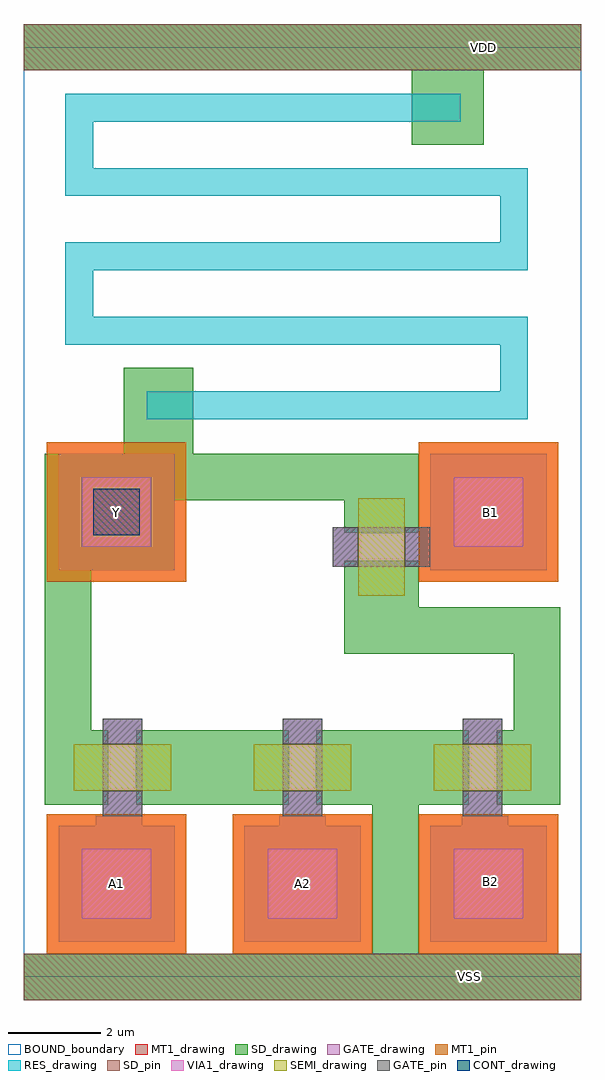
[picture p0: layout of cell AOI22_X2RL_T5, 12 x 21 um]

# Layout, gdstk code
from math import pi, radians
import gdstk
lib = gdstk.Library(unit=1e-6, precision=1e-09)
def R(c, l, rs):  # rectangles x0, y0, x1, y1
    for r in rs: c.add(gdstk.rectangle(r[:2], r[2:], *l))
def A(c, l, x, y, w, h, nx, ny, dx, dy):  # array of equal rectangles
    R(c, l, [(x+i*dx, y+j*dy, x+i*dx+w, y+j*dy+h) for i in range(nx) for j in range(ny)])
def P(c, l, *ps):  # polygons
    for p in ps: c.add(gdstk.Polygon(p, *l))
RES_drawing = (1, 0)
SEMI_drawing = (3, 0)
SD_drawing = (10, 0)
SD_pin = (10, 3)
GATE_drawing = (11, 0)
GATE_pin = (11, 3)
MT1_drawing = (20, 0)
MT1_pin = (20, 3)
CONT_drawing = (30, 0)
VIA1_drawing = (41, 0)
BOUND_boundary = (150, 5)

nch_cdns_772544902850 = lib.new_cell('nch_CDNS_772544902850')
R(nch_cdns_772544902850, SEMI_drawing, [(-1.05,-0.5,1.05,0.5)])
R(nch_cdns_772544902850, SD_drawing, [(-1.3,-0.8,-0.3,0.8), (0.3,-0.8,1.3,0.8)])
R(nch_cdns_772544902850, GATE_drawing, [(-0.425,-1.05,0.425,1.05)])
R(nch_cdns_772544902850, GATE_pin, [(-0.425,-1.05,0.425,-0.5), (-0.425,0.5,0.425,1.05)])

gate_mt1_cdns_7725449028 = lib.new_cell('GATE_MT1_CDNS_772544902850')
R(gate_mt1_cdns_7725449028, GATE_drawing, [(-1.25,-1.25,1.25,1.25)])
R(gate_mt1_cdns_7725449028, MT1_drawing, [(-1.25,-1.25,1.25,1.25)])
R(gate_mt1_cdns_7725449028, VIA1_drawing, [(-0.75,-0.75,0.75,0.75)])

sd_gate_cdns_77254490285 = lib.new_cell('SD_GATE_CDNS_772544902851')
R(sd_gate_cdns_77254490285, SD_drawing, [(-1,-1,1,1)])
R(sd_gate_cdns_77254490285, GATE_drawing, [(-1,-1,1,1)])
R(sd_gate_cdns_77254490285, CONT_drawing, [(-0.5,-0.5,0.5,0.5)])

aoi22_x2rl_t5 = lib.new_cell('AOI22_X2RL_T5')
R(aoi22_x2rl_t5, SD_drawing, [(0.75,8.75,3.25,11.25), (2.15,11.1,3.65,13.1), (8.35,17.9,9.9,19.5)])
R(aoi22_x2rl_t5, SD_pin, [(0,-0.5,12,0.5), (0,19.5,12,20.5)])
P(aoi22_x2rl_t5, GATE_drawing, [(5.5,3.35),(6.5,3.35),(6.5,3.45),(6.375,3.45),(6.375,3.5),(5.625,3.5),(5.625,3.45),(5.5,3.45)],
  [(1.55,3.35),(2.55,3.35),(2.55,3.45),(2.5,3.45),(2.5,3.5),(1.75,3.5),(1.75,3.45),(1.55,3.45)],
  [(8.85,8.8),(8.85,9.8),(8.75,9.8),(8.75,9.625),(8.7,9.625),(8.7,8.875),(8.75,8.875),(8.75,8.8)],
  [(9.425,3.35),(10.425,3.35),(10.425,3.45),(10.25,3.45),(10.25,3.5),(9.5,3.5),(9.5,3.45),(9.425,3.45)])
A(aoi22_x2rl_t5, MT1_drawing, 0.5, 0.5, 3, 3, 3, 1, 4, 0)
R(aoi22_x2rl_t5, MT1_drawing, [(8.75,0.75,11.25,3.25), (0.5,8.5,3.5,11.5), (8.5,8.5,11.5,11.5), (8.75,8.75,11.25,11.25)])
A(aoi22_x2rl_t5, MT1_pin, 0.5, 0.5, 3, 3, 3, 1, 4, 0)
R(aoi22_x2rl_t5, MT1_pin, [(0.5,8.5,3.5,11.5), (8.5,8.5,11.5,11.5)])
R(aoi22_x2rl_t5, BOUND_boundary, [(0,0,12,20)])
aoi22_x2rl_t5.add(gdstk.FlexPath([(3.425,4.5),(4.7,4.5)], 1.6, ends="flush", simple_path=True, layer=10, datatype=0))  # SD_drawing
aoi22_x2rl_t5.add(gdstk.FlexPath([(6.9,7.45),(11.05,7.45)], 1, ends=(0, 0.5), simple_path=True, layer=10, datatype=0))  # SD_drawing
aoi22_x2rl_t5.add(gdstk.FlexPath([(8,4.5),(8,0.5)], 1, ends=(0.7, 0), simple_path=True, layer=10, datatype=0))  # SD_drawing
aoi22_x2rl_t5.add(gdstk.FlexPath([(11.05,7.45),(11.05,3.7)], 1, ends=(0.5, 0), simple_path=True, layer=10, datatype=0))  # SD_drawing
aoi22_x2rl_t5.add(gdstk.FlexPath([(0.95,10.75),(8.5,10.75)], 1, ends=(0.5, 0), simple_path=True, layer=10, datatype=0))  # SD_drawing
aoi22_x2rl_t5.add(gdstk.FlexPath([(0.95,3.7),(0.95,10.75)], 1, ends=(0, 0.5), simple_path=True, layer=10, datatype=0))  # SD_drawing
aoi22_x2rl_t5.add(gdstk.FlexPath([(7.3,4.6),(8.625,4.6)], 1.4, ends="flush", simple_path=True, layer=10, datatype=0))  # SD_drawing
aoi22_x2rl_t5.add(gdstk.FlexPath([(7.3,4.4),(8.7,4.4)], 1.4, ends="flush", simple_path=True, layer=10, datatype=0))  # SD_drawing
aoi22_x2rl_t5.add(gdstk.FlexPath([(0,20),(12,20)], 1, ends="flush", simple_path=True, layer=10, datatype=0))  # SD_drawing
aoi22_x2rl_t5.add(gdstk.FlexPath([(0,0),(12,0)], 1, ends="flush", simple_path=True, layer=10, datatype=0))  # SD_drawing
aoi22_x2rl_t5.add(gdstk.FlexPath([(9.25,10),(10,10)], 1, ends=(0.5, 0), simple_path=True, layer=11, datatype=0))  # GATE_drawing
aoi22_x2rl_t5.add(gdstk.FlexPath([(9.25,9.25),(9.25,10)], 1, ends="extended", simple_path=True, layer=11, datatype=0))  # GATE_drawing
aoi22_x2rl_t5.add(gdstk.FlexPath([(9.925,3.35),(9.925,2)], 1, ends="flush", simple_path=True, layer=11, datatype=0))  # GATE_drawing
aoi22_x2rl_t5.add(gdstk.FlexPath([(6,3.35),(6,2)], 1, ends="flush", simple_path=True, layer=11, datatype=0))  # GATE_drawing
aoi22_x2rl_t5.add(gdstk.FlexPath([(8.75,9.25),(9.25,9.25)], 1, ends=(0, 0.5), simple_path=True, layer=11, datatype=0))  # GATE_drawing
aoi22_x2rl_t5.add(gdstk.FlexPath([(2.05,1.95),(2.05,3.35)], 1, ends="flush", simple_path=True, layer=11, datatype=0))  # GATE_drawing
aoi22_x2rl_t5.add(gdstk.FlexPath([(9.4,18.7),(1.2,18.7),(1.2,17.1),(10.55,17.1),(10.55,15.5),(1.2,15.5),(1.2,13.9),(10.55,13.9),(10.55,12.3),(2.65,12.3)], 0.6, ends="flush", simple_path=True, layer=1, datatype=0))  # RES_drawing
aoi22_x2rl_t5.add(gdstk.Reference(nch_cdns_772544902850, (2.125,4.5)))
aoi22_x2rl_t5.add(gdstk.Reference(nch_cdns_772544902850, (7.7,9.25), rotation=3*pi/2, x_reflection=True))
aoi22_x2rl_t5.add(gdstk.Reference(nch_cdns_772544902850, (6,4.5), rotation=pi))
aoi22_x2rl_t5.add(gdstk.Reference(nch_cdns_772544902850, (9.875,4.5)))
aoi22_x2rl_t5.add(gdstk.Reference(gate_mt1_cdns_7725449028, (10,10)))
aoi22_x2rl_t5.add(gdstk.Reference(gate_mt1_cdns_7725449028, (10,2)))
aoi22_x2rl_t5.add(gdstk.Reference(gate_mt1_cdns_7725449028, (6,2)))
aoi22_x2rl_t5.add(gdstk.Reference(gate_mt1_cdns_7725449028, (2,2)))
aoi22_x2rl_t5.add(gdstk.Reference(gate_mt1_cdns_7725449028, (2,10)))
aoi22_x2rl_t5.add(gdstk.Reference(sd_gate_cdns_77254490285, (2,10)))
aoi22_x2rl_t5.add(gdstk.Label('B1', (10.05,10), layer=20, texttype=3))
aoi22_x2rl_t5.add(gdstk.Label('B2', (10.05,2.05), layer=20, texttype=3))
aoi22_x2rl_t5.add(gdstk.Label('A2', (6,2), layer=20, texttype=3))
aoi22_x2rl_t5.add(gdstk.Label('A1', (2,2), layer=20, texttype=3))
aoi22_x2rl_t5.add(gdstk.Label('Y', (2,10), layer=20, texttype=3))
aoi22_x2rl_t5.add(gdstk.Label('VSS', (9.6,0), layer=10, texttype=3))
aoi22_x2rl_t5.add(gdstk.Label('VDD', (9.9,20), layer=10, texttype=3))

lib.write_gds('AOI22_X2RL_T5.gds')
